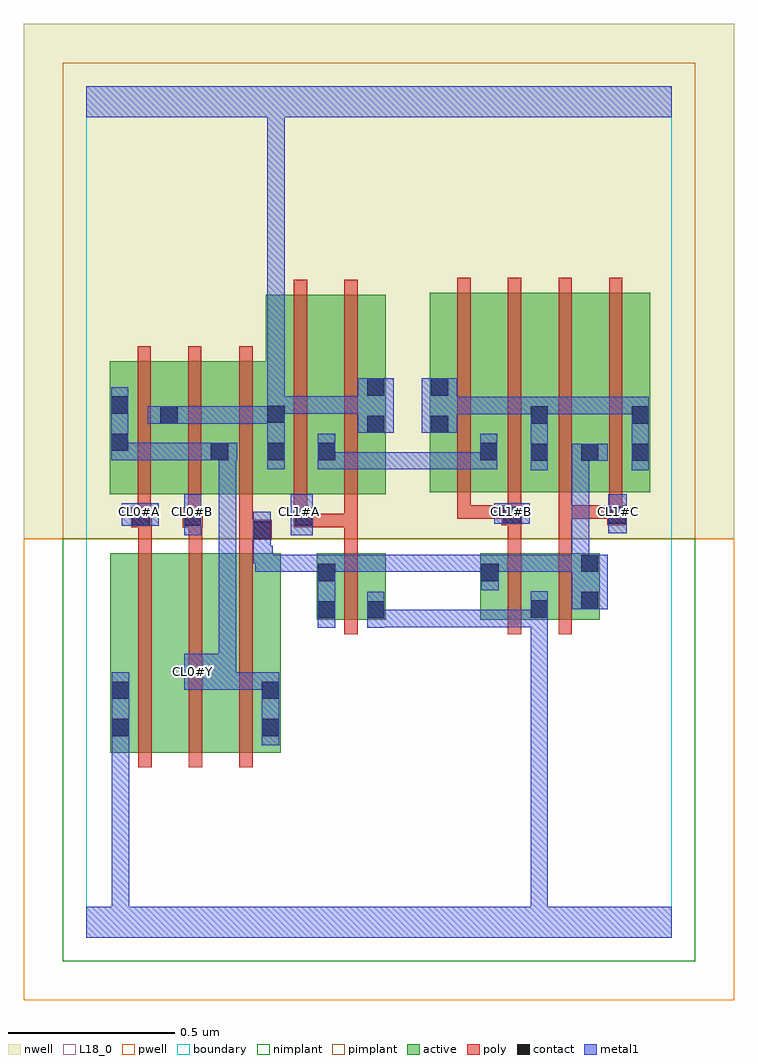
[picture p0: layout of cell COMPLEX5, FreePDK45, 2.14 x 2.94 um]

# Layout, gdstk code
import gdstk
lib = gdstk.Library(unit=1e-6, precision=1e-09)
def R(c, l, rs):  # rectangles x0, y0, x1, y1
    for r in rs: c.add(gdstk.rectangle(r[:2], r[2:], *l))
def A(c, l, x, y, w, h, nx, ny, dx, dy):  # array of equal rectangles
    R(c, l, [(x+i*dx, y+j*dy, x+i*dx+w, y+j*dy+h) for i in range(nx) for j in range(ny)])
active = (1, 0)
pwell = (2, 0)
nwell = (3, 0)
nimplant = (4, 0)
pimplant = (5, 0)
poly = (9, 0)
contact = (10, 0)
metal1 = (11, 0)
L18_0 = (18, 0)
boundary = (235, 0)

complex5 = lib.new_cell('COMPLEX5')
A(complex5, active, 1.18, 1.34, 0.212, 0.6, 3, 1, 0.152, 0)
R(complex5, active, [(0.072,0.556,0.132,1.156), (0.072,0.556,0.252,1.156), (0.252,0.556,0.404,1.156), (0.404,0.556,0.584,1.156), (0.524,0.556,0.584,1.156), (0.692,0.956,0.752,1.156), (0.692,0.956,0.9,1.156), (0.84,0.956,0.9,1.156), (1.184,0.956,1.244,1.156), (1.184,0.956,1.392,1.156), (1.332,0.956,1.392,1.156), (1.332,0.956,1.544,1.156), (1.484,0.956,1.544,1.156), (0.07,1.334,0.278,1.734), (0.07,1.334,0.13,1.644), (0.218,1.334,0.43,1.734), (0.37,1.334,0.6,1.734), (0.54,1.334,0.6,1.934), (0.54,1.334,0.752,1.934), (0.692,1.334,0.9,1.934), (0.84,1.334,0.9,1.844), (1.032,1.34,1.092,1.844), (1.032,1.34,1.24,1.94), (1.636,1.34,1.696,1.844), (1.332,1.43,1.392,1.844), (1.484,1.43,1.544,1.844), (0.37,1.432,0.43,1.644), (0.692,1.432,0.752,1.844), (1.18,1.432,1.24,1.844), (0.218,1.542,0.278,1.644)])
R(complex5, pwell, [(-0.188,-0.188,1.948,1.2)])
R(complex5, nwell, [(-0.188,1.2,1.948,2.748)])
R(complex5, nimplant, [(-0.072,-0.072,1.832,1.2)])
R(complex5, pimplant, [(-0.072,1.2,1.832,2.632)])
A(complex5, poly, 0.156, 0.512, 0.04, 0.688, 3, 1, 0.152, 0)
A(complex5, poly, 1.116, 1.26, 0.04, 0.076, 4, 1, 0.152, 0)
A(complex5, poly, 1.116, 1.296, 0.04, 0.688, 4, 1, 0.152, 0)
R(complex5, poly, [(0.776,0.912,0.816,1.2), (1.268,0.912,1.308,1.2), (1.42,0.912,1.46,1.2), (0.156,1.16,0.196,1.274), (0.308,1.16,0.348,1.274), (0.46,1.16,0.5,1.236), (0.776,1.16,0.816,1.274), (1.268,1.16,1.308,1.28), (1.42,1.16,1.46,1.3), (0.46,1.196,0.558,1.256), (0.46,1.216,0.5,1.256), (0.46,1.216,0.5,1.256), (0.46,1.216,0.5,1.33), (0.134,1.234,0.194,1.294), (0.154,1.234,0.194,1.274), (0.154,1.234,0.196,1.274), (0.29,1.234,0.35,1.294), (0.308,1.234,0.348,1.274), (0.308,1.234,0.348,1.274), (0.624,1.234,0.684,1.294), (0.644,1.234,0.816,1.274), (0.776,1.234,0.816,1.274), (0.776,1.234,0.816,1.274), (0.776,1.234,0.816,1.274), (0.776,1.234,0.816,1.274), (0.776,1.234,0.816,1.274), (0.776,1.234,0.816,1.33), (1.25,1.24,1.31,1.3), (1.566,1.24,1.626,1.3), (0.154,1.254,0.194,1.33), (0.306,1.254,0.346,1.33), (0.624,1.254,0.664,1.33), (1.116,1.26,1.156,1.3), (1.116,1.26,1.308,1.3), (1.268,1.26,1.308,1.3), (1.268,1.26,1.308,1.3), (1.268,1.26,1.308,1.3), (1.268,1.26,1.308,1.3), (1.42,1.26,1.46,1.3), (1.42,1.26,1.46,1.3), (1.42,1.26,1.46,1.3), (1.42,1.26,1.606,1.3), (1.566,1.26,1.606,1.3), (1.566,1.26,1.606,1.3), (0.154,1.29,0.194,1.778), (0.306,1.29,0.346,1.778), (0.46,1.29,0.5,1.778), (0.624,1.29,0.664,1.978), (0.776,1.29,0.816,1.978)])
A(complex5, contact, 1.336, 1.434, 0.052, 0.052, 3, 1, 0.152, 0)
R(complex5, contact, [(0.076,0.606,0.128,0.658), (0.528,0.606,0.58,0.658), (0.076,0.718,0.128,0.77), (0.528,0.718,0.58,0.77), (0.696,0.96,0.748,1.012), (0.844,0.96,0.896,1.012), (1.336,0.962,1.388,1.014), (1.488,0.988,1.54,1.04), (0.696,1.072,0.748,1.124), (1.188,1.072,1.24,1.124), (1.488,1.1,1.54,1.152), (0.502,1.2,0.554,1.252), (0.138,1.238,0.19,1.29), (0.294,1.238,0.346,1.29), (0.628,1.238,0.68,1.29), (1.254,1.244,1.306,1.296), (1.57,1.244,1.622,1.296), (0.374,1.436,0.426,1.488), (0.544,1.436,0.596,1.488), (0.696,1.436,0.748,1.488), (1.184,1.436,1.236,1.488), (0.074,1.464,0.126,1.516), (0.844,1.518,0.896,1.57), (1.036,1.518,1.088,1.57), (0.222,1.546,0.274,1.598), (1.336,1.546,1.388,1.598), (1.64,1.546,1.692,1.598), (0.544,1.548,0.596,1.6), (0.074,1.576,0.126,1.628), (0.844,1.63,0.896,1.682), (1.036,1.63,1.088,1.682)])
R(complex5, metal1, [(0,0,1.76,0.092), (0.076,0.04,0.128,0.63), (1.336,0.04,1.388,0.092), (1.336,0.04,1.388,0.092), (1.336,0.04,1.388,0.092), (1.336,0.04,1.388,0.092), (1.336,0.04,1.388,0.092), (1.336,0.04,1.388,0.092), (1.336,0.04,1.388,0.092), (1.336,0.04,1.388,0.092), (1.336,0.04,1.388,0.092), (1.336,0.04,1.388,0.092), (1.336,0.04,1.388,0.092), (1.336,0.04,1.388,0.092), (1.336,0.04,1.388,0.092), (1.336,0.04,1.388,0.092), (1.336,0.04,1.388,0.092), (1.336,0.04,1.388,0.092), (1.336,0.04,1.388,0.986), (0.076,0.578,0.128,0.798), (0.076,0.578,0.128,0.63), (0.076,0.578,0.128,0.63), (0.076,0.578,0.128,0.63), (0.076,0.578,0.128,0.63), (0.076,0.578,0.128,0.63), (0.076,0.578,0.128,0.63), (0.076,0.578,0.128,0.63), (0.076,0.578,0.128,0.63), (0.528,0.578,0.58,0.798), (0.294,0.746,0.45,0.854), (0.398,0.746,0.45,0.798), (0.398,0.746,0.45,0.798), (0.398,0.746,0.522,0.798), (0.47,0.746,0.522,0.798), (0.47,0.746,0.58,0.798), (0.398,0.802,0.45,1.488), (0.696,0.932,0.748,1.152), (0.844,0.932,0.896,1.04), (0.844,0.934,1.006,0.986), (0.954,0.934,1.006,0.986), (0.954,0.934,1.006,0.986), (0.954,0.934,1.006,0.986), (0.954,0.934,1.226,0.986), (1.174,0.934,1.226,0.986), (1.174,0.934,1.226,0.986), (1.174,0.934,1.226,0.986), (1.174,0.934,1.388,0.986), (1.336,0.934,1.388,1.042), (1.46,0.988,1.568,1.152), (1.188,1.044,1.24,1.152), (0.508,1.1,0.748,1.152), (0.508,1.1,0.56,1.178), (0.696,1.1,0.858,1.152), (0.696,1.1,0.748,1.152), (0.696,1.1,0.748,1.152), (0.696,1.1,0.748,1.152), (0.696,1.1,0.748,1.152), (0.806,1.1,0.858,1.152), (0.806,1.1,0.858,1.152), (0.806,1.1,0.858,1.152), (0.806,1.1,1.006,1.152), (0.954,1.1,1.006,1.152), (0.954,1.1,1.006,1.152), (0.954,1.1,1.006,1.152), (0.954,1.1,1.24,1.152), (1.188,1.1,1.35,1.152), (1.188,1.1,1.24,1.152), (1.188,1.1,1.24,1.152), (1.298,1.1,1.35,1.152), (1.298,1.1,1.35,1.152), (1.298,1.1,1.35,1.152), (1.298,1.1,1.512,1.152), (1.46,1.1,1.512,1.152), (1.46,1.1,1.512,1.152), (1.46,1.1,1.512,1.486), (0.502,1.126,0.56,1.178), (0.502,1.126,0.554,1.28), (0.294,1.21,0.346,1.334), (0.614,1.21,0.68,1.334), (1.57,1.216,1.626,1.334), (0.106,1.238,0.218,1.306), (1.226,1.244,1.334,1.306), (1.336,1.406,1.388,1.626), (1.64,1.406,1.692,1.626), (0.544,1.408,0.596,1.628), (0.696,1.408,0.896,1.46), (0.696,1.408,0.748,1.516), (0.844,1.408,1.006,1.46), (0.844,1.408,0.896,1.46), (0.844,1.408,0.896,1.46), (0.844,1.408,0.896,1.46), (0.954,1.408,1.006,1.46), (0.954,1.408,1.006,1.46), (0.954,1.408,1.006,1.46), (0.954,1.408,1.236,1.46), (1.184,1.408,1.236,1.516), (1.46,1.434,1.512,1.486), (1.46,1.434,1.512,1.486), (1.46,1.434,1.568,1.486), (0.074,1.436,0.236,1.488), (0.074,1.436,0.126,1.656), (0.074,1.436,0.126,1.488), (0.074,1.436,0.126,1.488), (0.184,1.436,0.236,1.488), (0.184,1.436,0.398,1.488), (0.346,1.436,0.398,1.488), (0.346,1.436,0.398,1.488), (0.346,1.436,0.454,1.488), (0.398,1.436,0.45,1.488), (0.398,1.436,0.45,1.488), (0.816,1.518,0.924,1.682), (1.008,1.518,1.116,1.682), (0.184,1.546,0.236,1.598), (0.184,1.546,0.236,1.598), (0.184,1.546,0.412,1.598), (0.184,1.546,0.246,1.598), (0.194,1.546,0.246,1.598), (0.194,1.546,0.302,1.598), (0.36,1.546,0.522,1.598), (0.36,1.546,0.412,1.598), (0.36,1.546,0.412,1.598), (0.36,1.546,0.412,1.598), (0.47,1.546,0.522,1.598), (0.47,1.546,0.596,1.598), (1.064,1.574,1.116,1.626), (1.064,1.574,1.116,1.626), (1.064,1.574,1.24,1.626), (1.188,1.574,1.24,1.626), (1.188,1.574,1.24,1.626), (1.188,1.574,1.24,1.626), (1.188,1.574,1.388,1.626), (1.336,1.574,1.388,1.626), (1.336,1.574,1.388,1.626), (1.336,1.574,1.582,1.626), (1.53,1.574,1.692,1.626), (1.53,1.574,1.582,1.626), (1.53,1.574,1.582,1.626), (1.53,1.574,1.582,1.626), (0.544,1.576,0.706,1.628), (0.544,1.576,0.596,1.628), (0.544,1.576,0.596,1.628), (0.544,1.576,0.596,1.628), (0.544,1.576,0.596,1.628), (0.544,1.576,0.596,2.52), (0.654,1.576,0.706,1.628), (0.654,1.576,0.706,1.628), (0.654,1.576,0.706,1.628), (0.654,1.576,0.868,1.628), (0.816,1.576,0.868,1.628), (0.816,1.576,0.868,1.628), (0,2.468,1.76,2.56), (0.544,2.468,0.596,2.52), (0.544,2.468,0.596,2.52), (0.544,2.468,0.596,2.52), (0.544,2.468,0.596,2.52), (0.544,2.468,0.596,2.52), (0.544,2.468,0.596,2.52), (0.544,2.468,0.596,2.52), (0.544,2.468,0.596,2.52)])
R(complex5, L18_0, [(0,0,1.76,0.092), (0.076,0.04,0.128,0.63), (1.336,0.04,1.388,0.092), (1.336,0.04,1.388,0.092), (1.336,0.04,1.388,0.092), (1.336,0.04,1.388,0.092), (1.336,0.04,1.388,0.092), (1.336,0.04,1.388,0.092), (1.336,0.04,1.388,0.092), (1.336,0.04,1.388,0.092), (1.336,0.04,1.388,0.092), (1.336,0.04,1.388,0.092), (1.336,0.04,1.388,0.092), (1.336,0.04,1.388,0.092), (1.336,0.04,1.388,0.092), (1.336,0.04,1.388,0.092), (1.336,0.04,1.388,0.092), (1.336,0.04,1.388,0.092), (1.336,0.04,1.388,0.986), (0.076,0.578,0.128,0.63), (0.076,0.578,0.128,0.63), (0.076,0.578,0.128,0.63), (0.076,0.578,0.128,0.63), (0.076,0.578,0.128,0.63), (0.076,0.578,0.128,0.63), (0.076,0.578,0.128,0.63), (0.076,0.578,0.128,0.63), (0.076,0.578,0.128,0.798), (0.528,0.578,0.58,0.798), (0.294,0.746,0.45,0.854), (0.398,0.746,0.45,0.798), (0.398,0.746,0.45,0.798), (0.398,0.746,0.522,0.798), (0.47,0.746,0.522,0.798), (0.47,0.746,0.58,0.798), (0.294,0.774,0.346,0.826), (0.398,0.802,0.45,1.488), (0.844,0.932,0.896,1.04), (0.844,0.934,1.006,0.986), (0.954,0.934,1.006,0.986), (0.954,0.934,1.006,0.986), (0.954,0.934,1.006,0.986), (0.954,0.934,1.226,0.986), (1.174,0.934,1.226,0.986), (1.174,0.934,1.226,0.986), (1.174,0.934,1.226,0.986), (1.174,0.934,1.388,0.986), (1.336,0.934,1.388,1.042), (0.294,1.21,0.346,1.334), (0.614,1.21,0.68,1.334), (1.57,1.216,1.626,1.334), (0.106,1.238,0.218,1.306), (1.226,1.244,1.334,1.306), (0.134,1.254,0.186,1.306), (0.294,1.254,0.346,1.306), (0.614,1.254,0.666,1.306), (1.254,1.254,1.306,1.306), (1.574,1.254,1.626,1.306), (0.544,1.408,0.596,1.628), (0.074,1.436,0.126,1.488), (0.074,1.436,0.126,1.488), (0.074,1.436,0.126,1.656), (0.074,1.436,0.236,1.488), (0.184,1.436,0.236,1.488), (0.184,1.436,0.398,1.488), (0.346,1.436,0.398,1.488), (0.346,1.436,0.398,1.488), (0.346,1.436,0.454,1.488), (0.398,1.436,0.45,1.488), (0.398,1.436,0.45,1.488), (0.816,1.518,0.924,1.682), (0.184,1.546,0.236,1.598), (0.184,1.546,0.236,1.598), (0.184,1.546,0.246,1.598), (0.184,1.546,0.412,1.598), (0.194,1.546,0.246,1.598), (0.194,1.546,0.302,1.598), (0.36,1.546,0.412,1.598), (0.36,1.546,0.412,1.598), (0.36,1.546,0.412,1.598), (0.36,1.546,0.522,1.598), (0.47,1.546,0.522,1.598), (0.47,1.546,0.596,1.598), (0.544,1.576,0.596,1.628), (0.544,1.576,0.596,1.628), (0.544,1.576,0.596,1.628), (0.544,1.576,0.596,1.628), (0.544,1.576,0.706,1.628), (0.544,1.576,0.596,2.52), (0.654,1.576,0.706,1.628), (0.654,1.576,0.706,1.628), (0.654,1.576,0.706,1.628), (0.654,1.576,0.868,1.628), (0.816,1.576,0.868,1.628), (0.816,1.576,0.868,1.628), (0,2.468,1.76,2.56), (0.544,2.468,0.596,2.52), (0.544,2.468,0.596,2.52), (0.544,2.468,0.596,2.52), (0.544,2.468,0.596,2.52), (0.544,2.468,0.596,2.52), (0.544,2.468,0.596,2.52), (0.544,2.468,0.596,2.52), (0.544,2.468,0.596,2.52)])
R(complex5, boundary, [(0,0,1.76,2.56)])
complex5.add(gdstk.Label('CL0#A', (0.16,1.28), layer=11, texttype=0))
complex5.add(gdstk.Label('CL0#B', (0.32,1.28), layer=11, texttype=0))
complex5.add(gdstk.Label('CL0#Y', (0.32,0.8), layer=11, texttype=0))
complex5.add(gdstk.Label('CL1#A', (0.64,1.28), layer=11, texttype=0))
complex5.add(gdstk.Label('CL1#B', (1.28,1.28), layer=11, texttype=0))
complex5.add(gdstk.Label('CL1#C', (1.6,1.28), layer=11, texttype=0))

lib.write_gds('COMPLEX5.gds')
